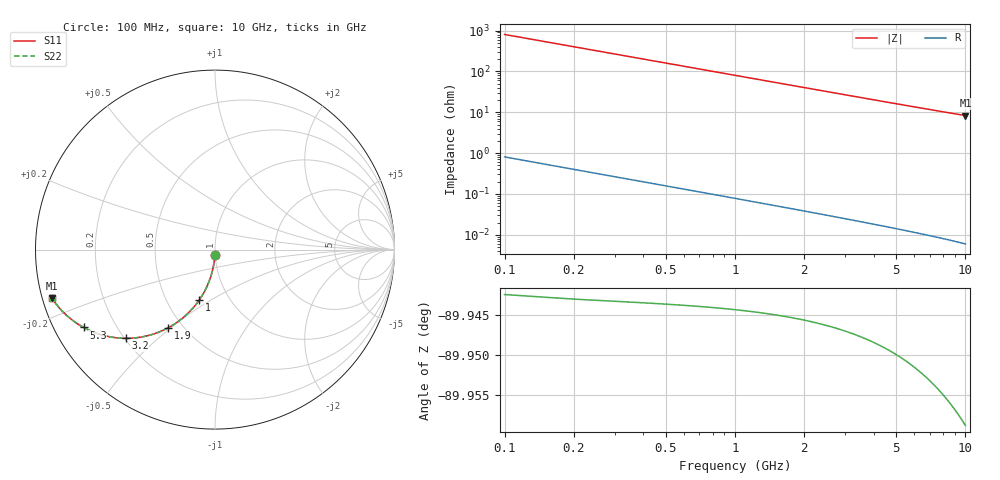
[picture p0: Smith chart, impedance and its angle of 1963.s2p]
# Hz S RI R 50.00
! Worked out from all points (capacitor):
!   100 points, 100 MHz to 10 GHz, reference 50 ohm
!   read as one part in shunt: C = 1.98 pF near 100 MHz
!   lowest |Z| = 8.34 ohm at 10 GHz (marker M1)
!   S11 on the Smith chart (normalised r, x): 100 MHz: 1.00, -0.06; 1 GHz: 0.72, -0.45; 1.9 GHz: 0.42, -0.49; 3.2 GHz: 0.20, -0.40; 5.3 GHz: 0.09, -0.27; 10 GHz: 0.03, -0.15
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1e8  -0.000904 -0.0309  0.9989 -0.0313  0.9989 -0.0313  -0.000904 -0.0309
2e8  -0.00383 -0.0617  0.996 -0.0623  0.996 -0.0623  -0.00383 -0.0617
3e8  -0.00864 -0.0921  0.9912 -0.093  0.9912 -0.093  -0.00864 -0.0921
4e8  -0.0153 -0.1219  0.9845 -0.1232  0.9845 -0.1232  -0.0153 -0.1219
5e8  -0.0237 -0.1511  0.9761 -0.1527  0.9761 -0.1527  -0.0237 -0.1511
6e8  -0.0338 -0.1794  0.966 -0.1814  0.966 -0.1814  -0.0338 -0.1794
7e8  -0.0454 -0.2068  0.9544 -0.2091  0.9544 -0.2091  -0.0454 -0.2068
8e8  -0.0585 -0.2331  0.9413 -0.2357  0.9413 -0.2357  -0.0585 -0.2331
1e9  -0.0885 -0.282  0.9113 -0.2852  0.9113 -0.2852  -0.0885 -0.282
1.2e9  -0.1226 -0.3257  0.8772 -0.3295  0.8772 -0.3295  -0.1226 -0.3257
1.4e9  -0.1598 -0.3637  0.84 -0.3683  0.84 -0.3683  -0.1598 -0.3637
1.8e9  -0.2391 -0.4232  0.7606 -0.429  0.7606 -0.429  -0.2391 -0.4232
1.9e9  -0.2594 -0.4348  0.7404 -0.4409  0.7404 -0.4409  -0.2594 -0.4348
2.5e9  -0.3775 -0.4802  0.6223 -0.4883  0.6223 -0.4883  -0.3775 -0.4802
3.2e9  -0.4984 -0.4943  0.5013 -0.5047  0.5013 -0.5047  -0.4984 -0.4943
3.4e9  -0.5288 -0.4932  0.471 -0.5041  0.471 -0.5041  -0.5288 -0.4932
4.2e9  -0.6315 -0.475  0.3682 -0.4886  0.3682 -0.4886  -0.6315 -0.475
5.1e9  -0.7168 -0.4417  0.2829 -0.4582  0.2829 -0.4582  -0.7168 -0.4417
5.3e9  -0.7322 -0.4336  0.2674 -0.4508  0.2674 -0.4508  -0.7322 -0.4336
6.7e9  -0.8143 -0.3772  0.1852 -0.3991  0.1852 -0.3991  -0.8143 -0.3772
8.4e9  -0.8739 -0.3173  0.1255 -0.3449  0.1255 -0.3449  -0.8739 -0.3173
1e10  -0.9081 -0.2712  0.0911 -0.3043  0.0911 -0.3043  -0.9081 -0.2712
